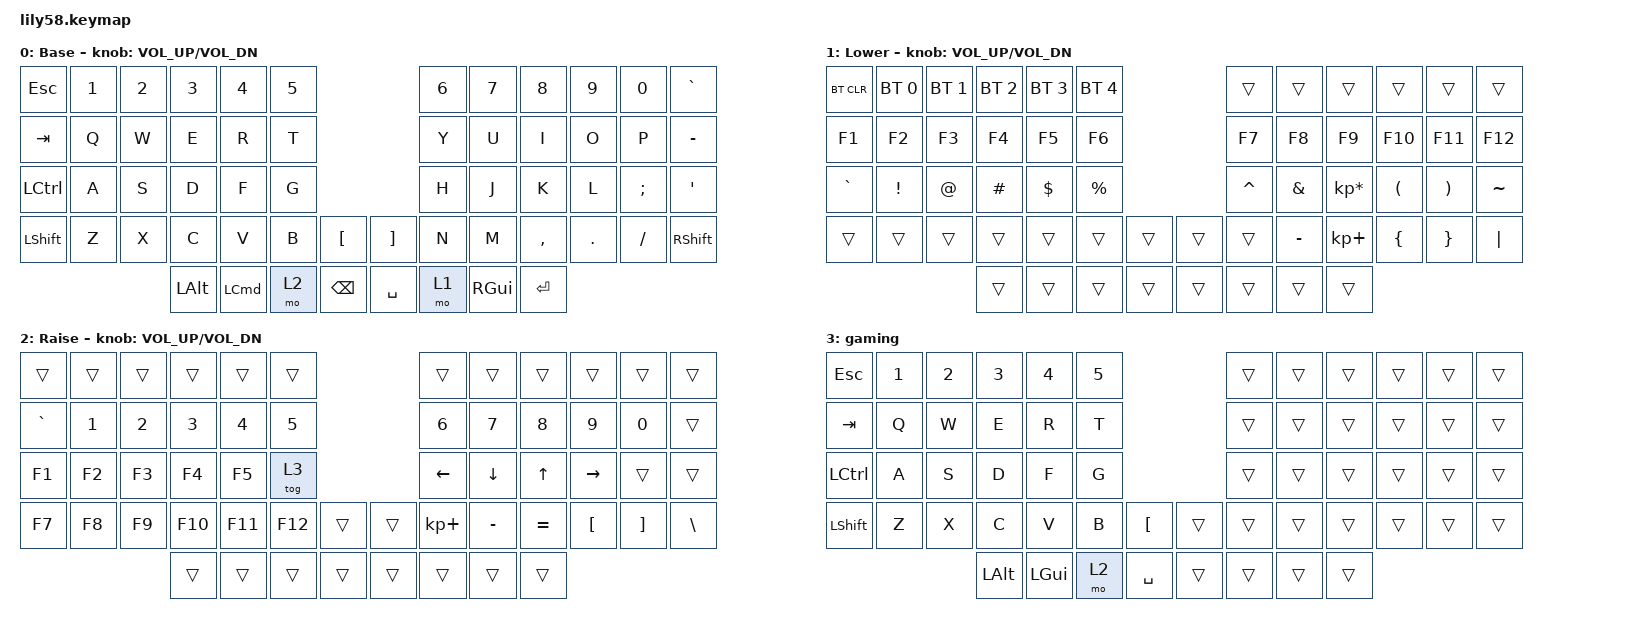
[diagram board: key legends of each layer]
/*
 * Copyright (c) 2020 The ZMK Contributors
 *
 * SPDX-License-Identifier: MIT
 */

#include <behaviors.dtsi>
#include <dt-bindings/zmk/bt.h>
#include <dt-bindings/zmk/keys.h>

/ {
    combos {
        compatible = "zmk,combos";

        combo_toggle_gaming {
            bindings = <&tog 3>;
            key-positions = <29 25 45 15>;
            slow-release;
            require-prior-idle-ms = <250>;
            timeout-ms = <1000>;
        };
    };

    keymap {
        compatible = "zmk,keymap";

        default_layer {
            // ------------------------------------------------------------------------------------------------------------
            // |  ESC  |  1  |  2  |  3   |  4   |  5   |                   |  6   |  7    |  8    |  9   |   0   |   `   |
            // |  TAB  |  Q  |  W  |  E   |  R   |  T   |                   |  Y   |  U    |  I    |  O   |   P   |   -   |
            // |  CTRL |  A  |  S  |  D   |  F   |  G   |                   |  H   |  J    |  K    |  L   |   ;   |   '   |
            // | SHIFT |  Z  |  X  |  C   |  V   |  B   |   "["  |  |  "]"  |  N   |  M    |  ,    |  .   |   /   | SHIFT |
            //                     | ALT  | GUI  | LOWER|  SPACE |  | ENTER | RAISE| BSPC  | GUI   |

            display-name = "Base";
            bindings = <
&kp ESC    &kp N1  &kp N2  &kp N3        &kp N4            &kp N5                              &kp N6  &kp N7         &kp N8     &kp N9   &kp N0    &kp GRAVE
&kp TAB    &kp Q   &kp W   &kp E         &kp R             &kp T                               &kp Y   &kp U          &kp I      &kp O    &kp P     &kp MINUS
&kp LCTRL  &kp A   &kp S   &kp D         &kp F             &kp G                               &kp H   &kp J          &kp K      &kp L    &kp SEMI  &kp SQT
&kp LSHFT  &kp Z   &kp X   &kp C         &kp V             &kp B   &kp LBKT         &kp RBKT   &kp N   &kp M          &kp COMMA  &kp DOT  &kp FSLH  &kp RSHFT
                           &kp LEFT_ALT  &kp LEFT_COMMAND  &mo 2   &kp BACKSPACE    &kp SPACE  &mo 1   &kp RIGHT_GUI  &kp ENTER
            >;

            sensor-bindings = <&inc_dec_kp C_VOL_UP C_VOL_DN>;
        };

        lower_layer {
            // ------------------------------------------------------------------------------------------------------------
            // | BTCLR | BT1 | BT2 |  BT3 |  BT4 |  BT5 |                   |      |       |       |      |       |       |
            // |  F1   |  F2 |  F3 |  F4  |  F5  |  F6  |                   |  F7  |  F8   |  F9   |  F10 |  F11  |  F12  |
            // |   `   |  !  |  @  |  #   |  $   |  %   |                   |  ^   |  &    |  *    |  (   |   )   |   ~   |
            // |       |     |     |      |      |      |        |  |       |      |  _    |  +    |  {   |   }   |  "|"  |
            //                     |      |      |      |        |  |       |      |       |       |

            display-name = "Lower";
            bindings = <
&bt BT_CLR  &bt BT_SEL 0  &bt BT_SEL 1  &bt BT_SEL 2  &bt BT_SEL 3  &bt BT_SEL 4                    &trans     &trans     &trans           &trans    &trans    &trans
&kp F1      &kp F2        &kp F3        &kp F4        &kp F5        &kp F6                          &kp F7     &kp F8     &kp F9           &kp F10   &kp F11   &kp F12
&kp GRAVE   &kp EXCL      &kp AT        &kp HASH      &kp DOLLAR    &kp PRCNT                       &kp CARET  &kp AMPS   &kp KP_MULTIPLY  &kp LPAR  &kp RPAR  &kp TILDE
&trans      &trans        &trans        &trans        &trans        &trans        &trans    &trans  &trans     &kp MINUS  &kp KP_PLUS      &kp LBRC  &kp RBRC  &kp PIPE
                                        &trans        &trans        &trans        &trans    &trans  &trans     &trans     &trans
            >;

            sensor-bindings = <&inc_dec_kp C_VOL_UP C_VOL_DN>;
        };

        raise_layer {
            // ------------------------------------------------------------------------------------------------------------
            // |       |     |     |      |      |      |                   |      |       |       |      |       |       |
            // |   `   |  1  |  2  |  3   |  4   |  5   |                   |  6   |   7   |   8   |  9   |   0   |       |
            // |   F1  |  F2 |  F3 |  F4  |  F5  |  F6  |                   |      |   <-  |   v   |  ^   |  ->   |       |
            // |   F7  |  F8 |  F9 |  F10 |  F11 |  F12 |        |  |       |  +   |   -   |   =   |  [   |   ]   |   \   |
            //                     |      |      |      |        |  |       |      |       |       |

            display-name = "Raise";
            bindings = <
&trans     &trans  &trans  &trans   &trans   &trans                     &trans          &trans          &trans        &trans           &trans    &trans
&kp GRAVE  &kp N1  &kp N2  &kp N3   &kp N4   &kp N5                     &kp N6          &kp N7          &kp N8        &kp N9           &kp N0    &trans
&kp F1     &kp F2  &kp F3  &kp F4   &kp F5   &tog 3                     &kp LEFT_ARROW  &kp DOWN_ARROW  &kp UP_ARROW  &kp RIGHT_ARROW  &trans    &trans
&kp F7     &kp F8  &kp F9  &kp F10  &kp F11  &kp F12  &trans    &trans  &kp KP_PLUS     &kp MINUS       &kp EQUAL     &kp LBKT         &kp RBKT  &kp BSLH
                           &trans   &trans   &trans   &trans    &trans  &trans          &trans          &trans
            >;

            sensor-bindings = <&inc_dec_kp C_VOL_UP C_VOL_DN>;
        };

        gaming {
            bindings = <
&kp ESCAPE        &kp NUMBER_1  &kp NUMBER_2  &kp NUMBER_3  &kp NUMBER_4  &kp NUMBER_5                              &trans  &trans  &trans  &trans  &trans  &trans
&kp TAB           &kp Q         &kp W         &kp E         &kp R         &kp T                                     &trans  &trans  &trans  &trans  &trans  &trans
&kp LEFT_CONTROL  &kp A         &kp S         &kp D         &kp F         &kp G                                     &trans  &trans  &trans  &trans  &trans  &trans
&kp LEFT_SHIFT    &kp Z         &kp X         &kp C         &kp V         &kp B         &kp LEFT_BRACKET    &trans  &trans  &trans  &trans  &trans  &trans  &trans
                                              &kp LEFT_ALT  &kp LEFT_GUI  &mo 2         &kp SPACE           &trans  &trans  &trans  &trans
            >;
        };
    };
};
